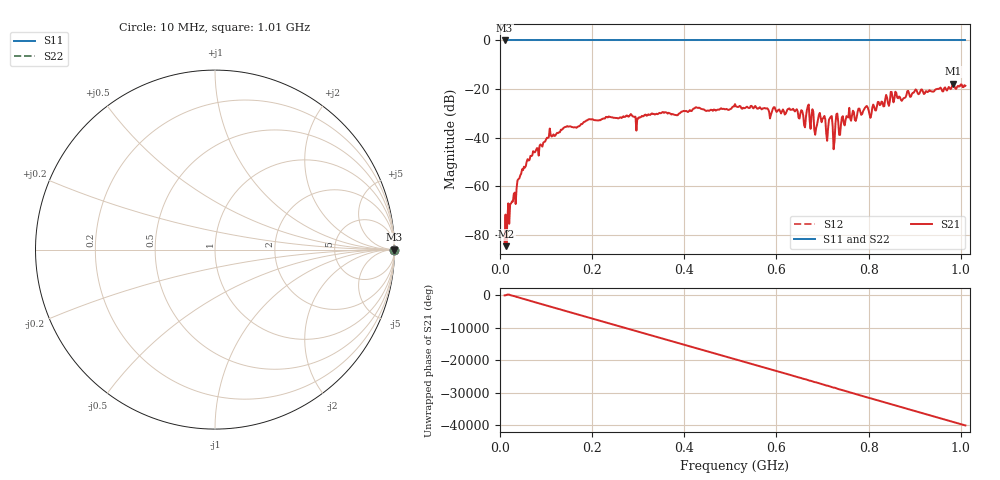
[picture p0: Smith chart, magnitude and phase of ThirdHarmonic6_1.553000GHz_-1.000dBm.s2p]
! 8/16/2025 6:26:28 PM
! C:\ANRITSUVNA\TEMP\TEMP.S2P
! CHANNEL.1
! TR.MEASUREMENT
! RAW.DATA
! RF.CORRECTION.OFF
! AVERAGING.OFF
! IF.BANDWIDTH: 5KHZ
! SWEEPTYPE:  FREQ.SWEEP(Linear)
! Reference Plane Port Info
! PORT:  PORT1  PORT2
! DISTANCE:  0  m  0  m
! TIME:  0  s  0  s
! PHASE.OFFSET:  0  deg.  0  deg.
! LOSS:  0  dB  0  dB
! REF.LOSS:  0  dB  0  dB
! REF.FREQ:  0  Hz  0  Hz
! Power Info
! POWER:  -20  dBm  -20  dBm
! EFF.POWER:  -20  dBm  -20  dBm
! SOURCE.ATTEN:  0  dB  0  dB
! TEST.ATTEN:  0  dB  0  dB
# GHZ S RI R 50.0
! FREQ.GHZ  S11RE  S11IM  S21RE  S21IM  S12RE  S12IM  S22RE  S22IM
!; PortSelection: Port_12
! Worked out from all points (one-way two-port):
!   501 points, 10 MHz to 1.01 GHz, reference 50 ohm
!   highest |S21| = -17.73 dB at 984 MHz (marker M1); lowest = -84.7 dB at 14 MHz (marker M2)
!   lowest |S11| = 0.0 dB at 10 MHz (marker M3)
!   |S11| at or under -10 dB: nowhere
!   |S22| runs from 0.0 to 0.0 dB; largest |S21 - S12| = 1.1
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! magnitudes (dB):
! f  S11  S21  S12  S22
! 10 MHz  0.0  -83.1  0.0  0.0
! 14 MHz  0.0  -84.7  0.0  0.0
! 42 MHz  0.0  -56.8  0.0  0.0
! 70 MHz  0.0  -47.4  0.0  0.0
! 106 MHz  0.0  -39.7  0.0  0.0
! 178 MHz  0.0  -34.4  0.0  0.0
! 344 MHz  0.0  -30.1  0.0  0.0
! 510 MHz  0.0  -26.2  0.0  0.0
! 640 MHz  0.0  -29.2  0.0  0.0
! 660 MHz  0.0  -34.9  0.0  0.0
! 668 MHz  0.0  -27.1  0.0  0.0
! 678 MHz  0.0  -28.3  0.0  0.0
! 686 MHz  0.0  -36.2  0.0  0.0
! 692 MHz  0.0  -30.7  0.0  0.0
! 702 MHz  0.0  -31.8  0.0  0.0
! 710 MHz  0.0  -41.3  0.0  0.0
! 718 MHz  0.0  -31.4  0.0  0.0
! 724 MHz  0.0  -44.8  0.0  0.0
! 754 MHz  0.0  -31.6  0.0  0.0
! 844 MHz  0.0  -26.9  0.0  0.0
! 984 MHz  0.0  -17.7  0.0  0.0
! 1.01 GHz  0.0  -18.6  0.0  0.0
